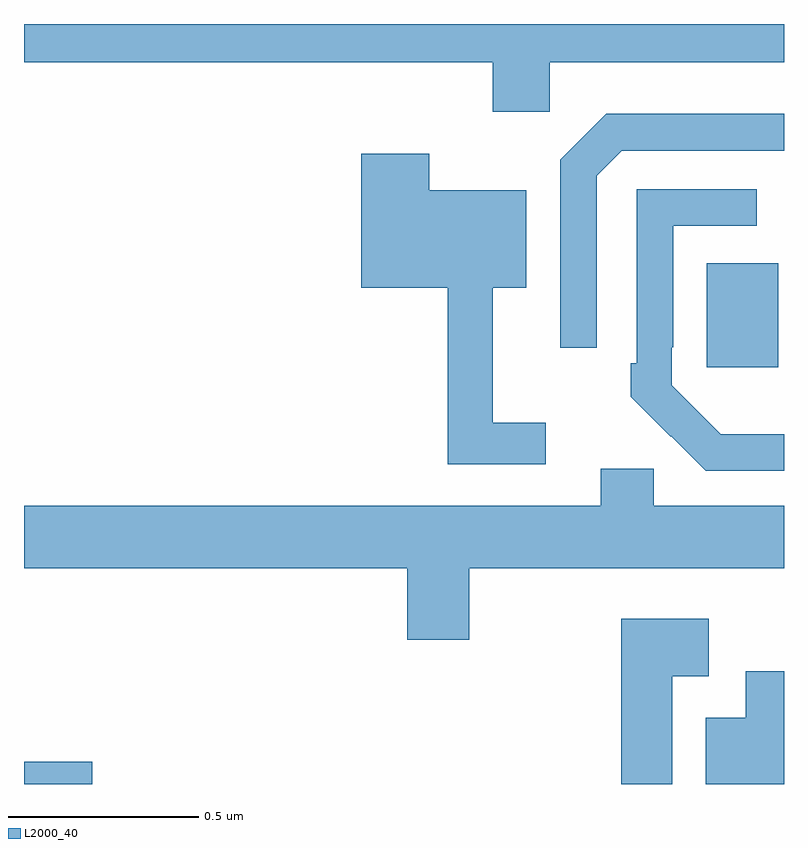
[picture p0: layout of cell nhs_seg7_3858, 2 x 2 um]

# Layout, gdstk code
import gdstk
lib = gdstk.Library(unit=1e-6, precision=1e-09)
def R(c, l, rs):  # rectangles x0, y0, x1, y1
    for r in rs: c.add(gdstk.rectangle(r[:2], r[2:], *l))
def P(c, l, *ps):  # polygons
    for p in ps: c.add(gdstk.Polygon(p, *l))
L2000_40 = (2000, 40)

nhs_seg7_3858 = lib.new_cell('nhs_seg7_3858')
R(nhs_seg7_3858, L2000_40, [(164,1048,164.179,1048.058), (165.797,1049.097,165.985,1049.371)])
P(nhs_seg7_3858, L2000_40, [(165.384,1049.9),(166,1049.9),(166,1050),(164,1050),(164,1049.9),(165.233,1049.9),(165.233,1049.769),(165.384,1049.769)],
  [(165.507,1049.601),(165.573,1049.667),(166,1049.667),(166,1049.764),(165.532,1049.764),(165.411,1049.643),(165.411,1049.148),(165.507,1049.148)],
  [(165.373,1048.951),(165.233,1048.951),(165.233,1049.306),(165.322,1049.306),(165.322,1049.563),(165.066,1049.563),(165.066,1049.659),(164.888,1049.659),(164.888,1049.306),(165.115,1049.306),(165.115,1048.842),(165.373,1048.842)],
  [(166,1048.92),(165.937,1048.92),(165.937,1048.921),(165.834,1048.921),(165.705,1049.049),(165.705,1049.149),(165.708,1049.149),(165.708,1049.469),(165.928,1049.469),(165.928,1049.565),(165.612,1049.565),(165.612,1049.107),(165.597,1049.107),(165.597,1049.019),(165.702,1048.914),(165.703,1048.915),(165.794,1048.824),(166,1048.824)],
  [(165.172,1048.568),(166,1048.568),(166,1048.732),(165.657,1048.732),(165.657,1048.83),(165.518,1048.83),(165.518,1048.732),(164,1048.732),(164,1048.568),(165.008,1048.568),(165.008,1048.38),(165.172,1048.38)],
  [(165.706,1048.283),(165.802,1048.283),(165.802,1048.435),(165.572,1048.435),(165.572,1048),(165.706,1048)],
  [(166,1048.297),(165.899,1048.297),(165.899,1048.174),(165.794,1048.174),(165.794,1048),(166,1048)])

lib.write_gds('nhs_seg7_3858.gds')
